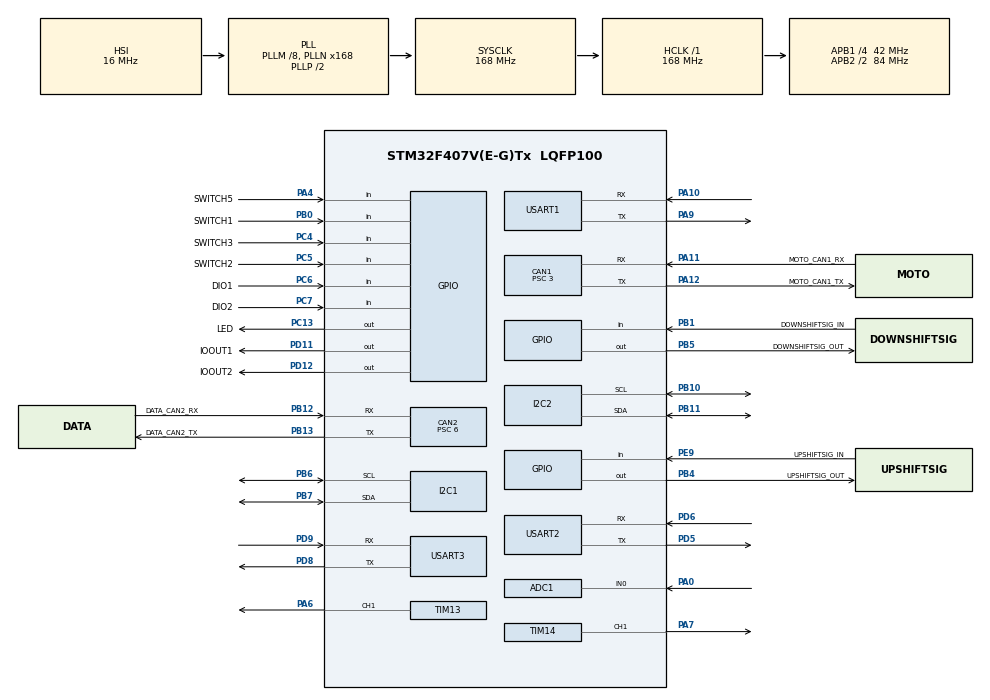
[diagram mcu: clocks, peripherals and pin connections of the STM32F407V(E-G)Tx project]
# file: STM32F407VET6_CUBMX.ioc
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ADC1.Channel-1\#ChannelRegularConversion=ADC_CHANNEL_0
ADC1.NbrOfConversionFlag=1
ADC1.Rank-1\#ChannelRegularConversion=1
ADC1.Resolution=ADC_RESOLUTION_10B
ADC1.SamplingTime-1\#ChannelRegularConversion=ADC_SAMPLETIME_3CYCLES
ADC1.master=1
CAN1.AWUM=ENABLE
CAN1.BS1=CAN_BS1_8TQ
CAN1.BS2=CAN_BS2_5TQ
CAN1.CalculateBaudRate=1000000
CAN1.CalculateTimeBit=1000
CAN1.CalculateTimeQuantum=71.42857142857143
CAN1.NART=ENABLE
CAN1.Prescaler=3
CAN1.RFLM=ENABLE
CAN2.AWUM=ENABLE
CAN2.BS1=CAN_BS1_8TQ
CAN2.BS2=CAN_BS2_5TQ
CAN2.CalculateBaudRate=500000
CAN2.CalculateTimeBit=2000
CAN2.CalculateTimeQuantum=142.85714285714286
CAN2.Mode=CAN_MODE_NORMAL
CAN2.NART=ENABLE
CAN2.Prescaler=6
CAN2.RFLM=ENABLE
Dma.Request0=USART1_RX
Dma.Request1=USART3_RX
Dma.Request2=USART3_TX
Dma.Request3=USART1_TX
Dma.USART1_RX.0.Direction=DMA_PERIPH_TO_MEMORY
Dma.USART1_RX.0.FIFOMode=DMA_FIFOMODE_DISABLE
Dma.USART1_RX.0.Instance=DMA2_Stream2
Dma.USART1_RX.0.MemDataAlignment=DMA_MDATAALIGN_BYTE
Dma.USART1_RX.0.MemInc=DMA_MINC_ENABLE
Dma.USART1_RX.0.Mode=DMA_NORMAL
Dma.USART1_RX.0.PeriphDataAlignment=DMA_PDATAALIGN_BYTE
Dma.USART1_RX.0.PeriphInc=DMA_PINC_DISABLE
Dma.USART1_RX.0.Priority=DMA_PRIORITY_LOW
Dma.USART1_TX.3.Direction=DMA_MEMORY_TO_PERIPH
Dma.USART1_TX.3.FIFOMode=DMA_FIFOMODE_DISABLE
Dma.USART1_TX.3.Instance=DMA2_Stream7
Dma.USART1_TX.3.MemDataAlignment=DMA_MDATAALIGN_BYTE
Dma.USART1_TX.3.MemInc=DMA_MINC_ENABLE
Dma.USART1_TX.3.Mode=DMA_NORMAL
Dma.USART1_TX.3.PeriphDataAlignment=DMA_PDATAALIGN_BYTE
Dma.USART1_TX.3.PeriphInc=DMA_PINC_DISABLE
Dma.USART1_TX.3.Priority=DMA_PRIORITY_LOW
Dma.USART3_RX.1.Direction=DMA_PERIPH_TO_MEMORY
Dma.USART3_RX.1.FIFOMode=DMA_FIFOMODE_DISABLE
Dma.USART3_RX.1.Instance=DMA1_Stream1
Dma.USART3_RX.1.MemDataAlignment=DMA_MDATAALIGN_BYTE
Dma.USART3_RX.1.MemInc=DMA_MINC_ENABLE
Dma.USART3_RX.1.Mode=DMA_NORMAL
Dma.USART3_RX.1.PeriphDataAlignment=DMA_PDATAALIGN_BYTE
Dma.USART3_RX.1.PeriphInc=DMA_PINC_DISABLE
Dma.USART3_RX.1.Priority=DMA_PRIORITY_LOW
Dma.USART3_TX.2.Direction=DMA_MEMORY_TO_PERIPH
Dma.USART3_TX.2.FIFOMode=DMA_FIFOMODE_DISABLE
Dma.USART3_TX.2.Instance=DMA1_Stream3
Dma.USART3_TX.2.MemDataAlignment=DMA_MDATAALIGN_BYTE
Dma.USART3_TX.2.MemInc=DMA_MINC_ENABLE
Dma.USART3_TX.2.Mode=DMA_NORMAL
Dma.USART3_TX.2.PeriphDataAlignment=DMA_PDATAALIGN_BYTE
Dma.USART3_TX.2.PeriphInc=DMA_PINC_DISABLE
Dma.USART3_TX.2.Priority=DMA_PRIORITY_LOW
Mcu.Family=STM32F4
Mcu.Name=STM32F407V(E-G)Tx
Mcu.Package=LQFP100
NVIC.CAN1_RX0_IRQn=true\:0\:0\:false\:false\:true\:true\:true\:true
NVIC.CAN2_RX1_IRQn=true\:0\:0\:false\:false\:true\:true\:true\:true
NVIC.DMA1_Stream1_IRQn=true\:0\:0\:false\:false\:true\:false\:true\:true
NVIC.DMA1_Stream3_IRQn=true\:0\:0\:false\:false\:true\:false\:true\:true
NVIC.DMA2_Stream2_IRQn=true\:0\:0\:false\:false\:true\:false\:true\:true
NVIC.DMA2_Stream7_IRQn=true\:0\:0\:false\:false\:true\:false\:true\:true
NVIC.PriorityGroup=NVIC_PRIORITYGROUP_4
NVIC.TIM2_IRQn=true\:0\:0\:false\:false\:true\:true\:true\:true
PA0-WKUP.Signal=ADCx_IN0
PA10.Mode=Asynchronous
PA10.Signal=USART1_RX
PA11.GPIO_Label=MOTO_CAN1_RX
PA11.GPIO_PuPd=GPIO_NOPULL
PA11.Mode=CAN_Activate
PA11.Signal=CAN1_RX
PA12.GPIO_Label=MOTO_CAN1_TX
PA12.Mode=CAN_Activate
PA12.Signal=CAN1_TX
PA13.Mode=Serial_Wire
PA13.Signal=SYS_JTMS-SWDIO
PA14.Mode=Serial_Wire
PA14.Signal=SYS_JTCK-SWCLK
PA4.GPIO_Label=SWITCH5
PA4.GPIO_PuPd=GPIO_PULLDOWN
PA4.Signal=GPIO_Input
PA6.Signal=S_TIM13_CH1
PA7.Signal=S_TIM14_CH1
PA9.Mode=Asynchronous
PA9.Signal=USART1_TX
PB0.GPIO_Label=SWITCH1
PB0.GPIO_PuPd=GPIO_PULLDOWN
PB0.Signal=GPIO_Input
PB1.GPIO_Label=DOWNSHIFTSIG_IN
PB1.GPIO_PuPd=GPIO_PULLDOWN
PB1.Signal=GPIO_Input
PB10.Mode=I2C
PB10.Signal=I2C2_SCL
PB11.Mode=I2C
PB11.Signal=I2C2_SDA
PB12.GPIO_Label=DATA_CAN2_RX
PB12.GPIO_PuPd=GPIO_PULLUP
PB12.Mode=CAN_Activate
PB12.Signal=CAN2_RX
PB13.GPIO_Label=DATA_CAN2_TX
PB13.GPIO_PuPd=GPIO_PULLUP
PB13.Mode=CAN_Activate
PB13.Signal=CAN2_TX
PB4.GPIO_Label=UPSHIFTSIG_OUT
PB4.GPIO_PuPd=GPIO_PULLDOWN
PB4.Signal=GPIO_Output
PB5.GPIO_Label=DOWNSHIFTSIG_OUT
PB5.GPIO_PuPd=GPIO_PULLDOWN
PB5.Signal=GPIO_Output
PB6.Mode=I2C
PB6.Signal=I2C1_SCL
PB7.Mode=I2C
PB7.Signal=I2C1_SDA
PC13-ANTI_TAMP.GPIO_Label=LED
PC13-ANTI_TAMP.GPIO_PuPd=GPIO_PULLUP
PC13-ANTI_TAMP.Signal=GPIO_Output
PC14-OSC32_IN.Mode=LSE-External-Oscillator
PC14-OSC32_IN.Signal=RCC_OSC32_IN
PC15-OSC32_OUT.Mode=LSE-External-Oscillator
PC15-OSC32_OUT.Signal=RCC_OSC32_OUT
PC4.GPIO_Label=SWITCH3
PC4.GPIO_PuPd=GPIO_PULLDOWN
PC4.Signal=GPIO_Input
PC5.GPIO_Label=SWITCH2
PC5.GPIO_PuPd=GPIO_PULLDOWN
PC5.Signal=GPIO_Input
PC6.GPIO_Label=DIO1
PC6.Signal=GPIO_Input
PC7.GPIO_Label=DIO2
PC7.Signal=GPIO_Input
PD11.GPIO_Label=IOOUT1
PD11.GPIO_PuPd=GPIO_PULLDOWN
PD11.Signal=GPIO_Output
PD12.GPIO_Label=IOOUT2
PD12.GPIO_PuPd=GPIO_PULLDOWN
PD12.Signal=GPIO_Output
PD5.Mode=Asynchronous
PD5.Signal=USART2_TX
PD6.Mode=Asynchronous
PD6.Signal=USART2_RX
PD8.Mode=Asynchronous
PD8.Signal=USART3_TX
PD9.Mode=Asynchronous
PD9.Signal=USART3_RX
PE9.GPIO_Label=UPSHIFTSIG_IN
PE9.GPIO_PuPd=GPIO_PULLDOWN
PE9.Signal=GPIO_Input
PH0-OSC_IN.Mode=HSE-External-Oscillator
PH0-OSC_IN.Signal=RCC_OSC_IN
PH1-OSC_OUT.Mode=HSE-External-Oscillator
PH1-OSC_OUT.Signal=RCC_OSC_OUT
ProjectManager.HeapSize=0x200
ProjectManager.StackSize=0x400
ProjectManager.TargetToolchain=MDK-ARM V5.32
RCC.48MHZClocksFreq_Value=84000000
RCC.AHBFreq_Value=168000000
RCC.APB1CLKDivider=RCC_HCLK_DIV4
RCC.APB1Freq_Value=42000000
RCC.APB1TimFreq_Value=84000000
RCC.APB2CLKDivider=RCC_HCLK_DIV2
RCC.APB2Freq_Value=84000000
RCC.APB2TimFreq_Value=168000000
RCC.CortexFreq_Value=168000000
RCC.HCLKFreq_Value=168000000
RCC.HSE_VALUE=25000000
RCC.HSI_VALUE=16000000
RCC.PLLM=8
RCC.PLLN=168
RCC.SYSCLKFreq_VALUE=168000000
RCC.SYSCLKSource=RCC_SYSCLKSOURCE_PLLCLK
RCC.VCOOutputFreq_Value=336000000
SH.ADCx_IN0.0=ADC1_IN0,IN0
SH.S_TIM13_CH1.0=TIM13_CH1,PWM Generation1 CH1
SH.S_TIM14_CH1.0=TIM14_CH1,PWM Generation1 CH1
TIM13.Channel=TIM_CHANNEL_1
TIM14.Channel=TIM_CHANNEL_1
TIM2.Period=200-1
TIM2.Prescaler=16800-1
USART1.VirtualMode=VM_ASYNC
USART2.VirtualMode=VM_ASYNC
USART3.VirtualMode=VM_ASYNC
VP_TIM13_VS_ClockSourceINT.Mode=Enable_Timer
VP_TIM14_VS_ClockSourceINT.Mode=Enable_Timer
VP_TIM1_VS_ClockSourceINT.Mode=Internal
VP_TIM1_VS_ClockSourceITR.Mode=TriggerSource_ITR0
VP_TIM1_VS_ControllerModeTrigger.Mode=Trigger Mode
VP_TIM2_VS_ClockSourceINT.Mode=Internal
board=custom

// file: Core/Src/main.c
/* USER CODE BEGIN Header */
/**
  ******************************************************************************
  * @file           : main.c
  * @brief          : Main program body
  ******************************************************************************
  * @attention
  *
  * Copyright (c) 2025 STMicroelectronics.
  * All rights reserved.
  *
  * This software is licensed under terms that can be found in the LICENSE file
  * in the root directory of this software component.
  * If no LICENSE file comes with this software, it is provided AS-IS.
  *
  ******************************************************************************
  */
/* USER CODE END Header */
#include "main.h"
#include "adc.h"
#include "can.h"
#include "dma.h"
#include "i2c.h"
#include "tim.h"
#include "usart.h"
#include "gpio.h"

/* USER CODE BEGIN Includes */
#include "headfile.h"    //头文
#include "SA_E_shift.h"    //头文

/* USER CODE END Includes */

/* USER CODE BEGIN PTD */
#define overtime_tick_max 65534
/* USER CODE END PTD */

void SystemClock_Config(void);

/* USER CODE BEGIN 0 */
uint16_t overtime_tick;
uint8_t key_num;

/* USER CODE END 0 */

int main(void)
{

  /* MCU Configuration--------------------------------------------------------*/

  /* Reset of all peripherals, Initializes the Flash interface and the Systick. */
  HAL_Init();

  /* Configure the system clock */
  SystemClock_Config();

  /* USER CODE BEGIN SysInit */
  HAL_Delay(2000);
  /* USER CODE END SysInit */

  /* Initialize all configured peripherals */
  MX_GPIO_Init();
  MX_DMA_Init();
  MX_TIM1_Init();
  MX_ADC1_Init();
  MX_CAN1_Init();
  MX_CAN2_Init();
  MX_I2C1_Init();
  MX_I2C2_Init();
  MX_TIM13_Init();
  MX_TIM14_Init();
  MX_USART1_UART_Init();
  MX_USART2_UART_Init();
  MX_USART3_UART_Init();
  MX_TIM2_Init();
  /* USER CODE BEGIN 2 */
    Motor_Init();
    HAL_TIM_Base_Start_IT(&htim2);//定时器5ms中断开启
  /* USER CODE END 2
  */

  /* Infinite loop */
  /* USER CODE BEGIN WHILE */
  while (1)
  {
      Radio_Data_Send(&Clutch_Cyber,&Shift_Cyber,&ECUDATA,1);//电台发送数据
//      CANtest(&Clutch_Cyber,&Shift_Cyber);
      Set_Cyber_Pos(&Clutch_Cyber,0) ;
      Set_Cyber_Pos(&Shift_Cyber,1) ;
      key_num=get_key_num();
      if (key_num==4) {Stop_Cyber(&Clutch_Cyber, 1);Stop_Cyber(&Shift_Cyber, 1);}
      if (key_num==3) {Start_Cyber(&Clutch_Cyber);Start_Cyber(&Shift_Cyber);}
      if (key_num==1) //upshiftsign
            {
                EShift_move(1,&ECUDATA);
            }
      if (key_num==2)
            {
                EShift_move(0,&ECUDATA);
            }

    HAL_GPIO_WritePin((GPIO_TypeDef *)LED_GPIO_Port, (uint16_t)LED_Pin, (GPIO_PinState)0);

    /* USER CODE END WHILE */

  }
}

void SystemClock_Config(void)
{
  RCC_OscInitTypeDef RCC_OscInitStruct = {0};
  RCC_ClkInitTypeDef RCC_ClkInitStruct = {0};

  /** Configure the main internal regulator output voltage
  */
  __HAL_RCC_PWR_CLK_ENABLE();
  __HAL_PWR_VOLTAGESCALING_CONFIG(PWR_REGULATOR_VOLTAGE_SCALE1);

  /** Initializes the RCC Oscillators according to the specified parameters
  * in the RCC_OscInitTypeDef structure.
  */
  RCC_OscInitStruct.OscillatorType = RCC_OSCILLATORTYPE_HSI;
  RCC_OscInitStruct.HSIState = RCC_HSI_ON;
  RCC_OscInitStruct.HSICalibrationValue = RCC_HSICALIBRATION_DEFAULT;
  RCC_OscInitStruct.PLL.PLLState = RCC_PLL_ON;
  RCC_OscInitStruct.PLL.PLLSource = RCC_PLLSOURCE_HSI;
  RCC_OscInitStruct.PLL.PLLM = 8;
  RCC_OscInitStruct.PLL.PLLN = 168;
  RCC_OscInitStruct.PLL.PLLP = RCC_PLLP_DIV2;
  RCC_OscInitStruct.PLL.PLLQ = 4;
  if (HAL_RCC_OscConfig(&RCC_OscInitStruct) != HAL_OK)
  {
    Error_Handler();
  }

  /** Initializes the CPU, AHB and APB buses clocks
  */
  RCC_ClkInitStruct.ClockType = RCC_CLOCKTYPE_HCLK|RCC_CLOCKTYPE_SYSCLK
                              |RCC_CLOCKTYPE_PCLK1|RCC_CLOCKTYPE_PCLK2;
  RCC_ClkInitStruct.SYSCLKSource = RCC_SYSCLKSOURCE_PLLCLK;
  RCC_ClkInitStruct.AHBCLKDivider = RCC_SYSCLK_DIV1;
  RCC_ClkInitStruct.APB1CLKDivider = RCC_HCLK_DIV4;
  RCC_ClkInitStruct.APB2CLKDivider = RCC_HCLK_DIV2;

  if (HAL_RCC_ClockConfig(&RCC_ClkInitStruct, FLASH_LATENCY_5) != HAL_OK)
  {
    Error_Handler();
  }
}

/* USER CODE BEGIN 4 */
void HAL_TIM_PeriodElapsedCallback(TIM_HandleTypeDef *htim){
    if(htim == &htim2)  //判断中断是否来自于定时器2
   {
       overtime_tick++;
       if (overtime_tick > overtime_tick_max) overtime_tick=0;
   }
}

//单片机测试代码
//    HAL_GPIO_WritePin((GPIO_TypeDef *)LED1_GPIO_Port, (uint16_t)LED1_Pin, (GPIO_PinState)0);
//    HAL_Delay(200);
//    HAL_GPIO_WritePin((GPIO_TypeDef *)LED1_GPIO_Port, (uint16_t)LED1_Pin, (GPIO_PinState)1);
//    HAL_Delay(200);
//    printf("samples: %d \n",a );
//    a++;
/* USER CODE END 4 */

void Error_Handler(void)
{
  __disable_irq();
  while (1)
  {
  }
}
